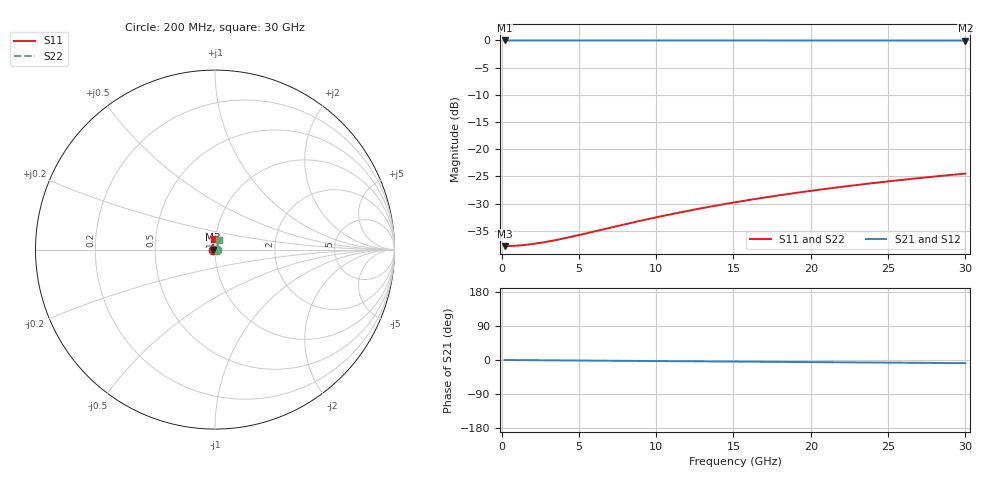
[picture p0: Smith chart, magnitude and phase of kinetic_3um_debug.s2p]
! Touchstone file exported from HFSS 2026.1.0
!  Generated:  11:51:21 AM Aug 24, 2026
!  Design:  HFSSDesign_Kinetic_debug
!  Project:  kinetic_stub_sweep
!  Setup:  Setup1
!  Solution:  Sweep_discrete_debug
! Variables:
!  stub_length = 2.5um
# GHz S MA R 50.000000
! Terminal data exported
! Port[1] = Port1
! Port[2] = Port2
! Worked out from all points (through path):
!   61 points, 200 MHz to 30 GHz, reference 50 ohm
!   highest |S21| = 0.00 dB at 200 MHz (marker M1); lowest = 0.0 dB at 30 GHz (marker M2)
!   group delay of S21, straight-line fit = 769 fs
!   lowest |S11| = -37.8 dB at 200 MHz (marker M3), VSWR 1.03, Z = 48.7 + j0.04 ohm
!   |S11| at or under -10 dB: start of sweep to end of sweep
!   |S22| runs from -37.8 to -24.5 dB; largest |S21 - S12| = 1.7e-12
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0.2  0.01284 178.2  0.9999 -0.1  0.9999 -0.1  0.01284 1.7
! Gamma 0 168.706754987054 0 171.762135429003
! Port Impedance 50 0 50 0
0.6966667  0.01291 173.6  0.9999 -0.2  0.9999 -0.2  0.01291 6.0
1.193333  0.01305 169.2  0.9999 -0.3  0.9999 -0.3  0.01305 10.2
1.69  0.01326 164.8  0.9999 -0.5  0.9999 -0.5  0.01326 14.2
2.186667  0.01355 160.7  0.9999 -0.6  0.9999 -0.6  0.01355 18.1
2.683333  0.0139 156.6  0.9999 -0.7  0.9999 -0.7  0.0139 21.9
3.676667  0.01477 149.3  0.9999 -1.0  0.9999 -1.0  0.01477 28.7
4.173333  0.01528 145.9  0.9999 -1.2  0.9999 -1.2  0.01528 31.8
5.166667  0.01643 139.8  0.9999 -1.4  0.9999 -1.4  0.01643 37.3
8.643333  0.02143 124.3  0.9998 -2.4  0.9998 -2.4  0.02143 50.9
10.63  0.02468 118.2  0.9997 -2.9  0.9997 -2.9  0.02468 55.9
12.61667  0.02808 113.5  0.9996 -3.5  0.9996 -3.5  0.02808 59.5
14.10667  0.03071 110.6  0.9995 -3.9  0.9995 -3.9  0.03071 61.6
15.1  0.03248 108.8  0.9995 -4.2  0.9995 -4.2  0.03248 62.8
16.09333  0.03427 107.3  0.9994 -4.5  0.9994 -4.5  0.03427 63.8
17.58333  0.03698 105.1  0.9993 -4.9  0.9993 -4.9  0.03698 65.1
20.06667  0.04152 102.1  0.9991 -5.6  0.9991 -5.6  0.04152 66.8
22.55  0.04608 99.6  0.9989 -6.2  0.9989 -6.2  0.04608 67.9
24.04  0.04881 98.2  0.9988 -6.7  0.9988 -6.7  0.04881 68.5
25.53  0.05155 97.0  0.9987 -7.1  0.9987 -7.1  0.05155 68.9
27.51667  0.05518 95.4  0.9985 -7.6  0.9985 -7.6  0.05518 69.3
30  0.0597 93.7  0.9982 -8.3  0.9982 -8.3  0.0597 69.7
